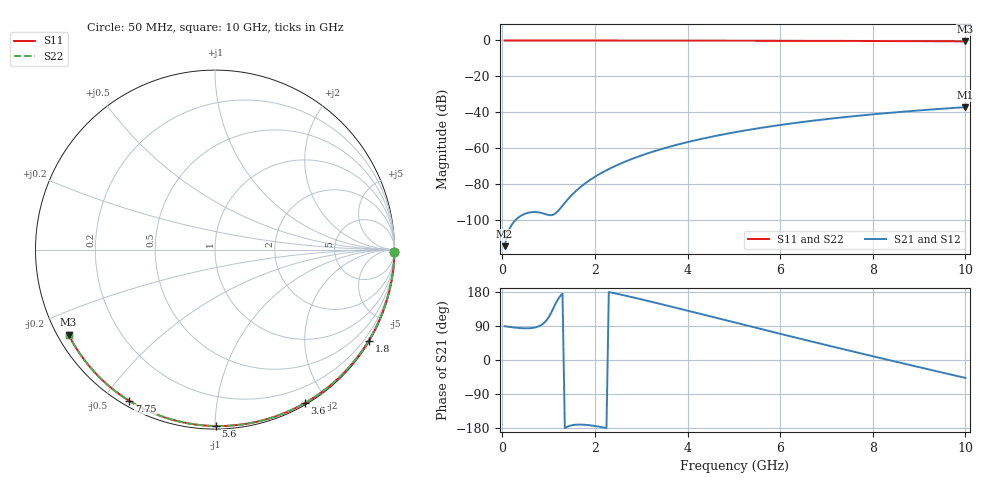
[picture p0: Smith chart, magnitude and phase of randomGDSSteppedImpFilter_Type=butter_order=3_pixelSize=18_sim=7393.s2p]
! freq	dB(S11)	phase(S11)	dB(S12)	phase(S12)
!  dB(S21)	phase(S21)	dB(S22)	phase(S22)
!S-par simulation data
#  GHz  S  DB  R 50
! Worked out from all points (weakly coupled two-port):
!   200 points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, 50 MHz to 10 GHz, reference 50 ohm
!   highest |S21| = -37.17 dB at 10 GHz (marker M1); lowest = -114.6 dB at 50 MHz (marker M2)
!   lowest |S11| = -0.5 dB at 10 GHz (marker M3), VSWR 34.24, Z = 1.57 - j13.5 ohm
!   |S11| at or under -10 dB: nowhere
!   |S22| runs from -0.5 to 0.0 dB; largest |S21 - S12| = 0
!   S11 on the Smith chart (normalised r, x): 50 MHz: open; 1.8 GHz: 0.03, -3.65; 3.6 GHz: 0.02, -1.74; 5.6 GHz: 0.02, -1.00; 7.75 GHz: 0.02, -0.58; 10 GHz: 0.03, -0.27
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0.05  -0.00 -0.9  -114.59 89.1  -114.59 89.1  -0.00 -0.9
0.45  -0.01 -7.8  -96.99 83.8  -96.99 83.8  -0.01 -7.8
0.9  -0.02 -15.5  -96.49 97.6  -96.49 97.6  -0.02 -15.5
1.3  -0.03 -22.3  -92.02 175.3  -92.02 175.3  -0.03 -22.3
1.75  -0.04 -29.8  -80.39 -170.7  -80.39 -170.7  -0.04 -29.8
1.8  -0.04 -30.6  -79.41 -171.2  -79.41 -171.2  -0.04 -30.6
1.95  -0.04 -33.1  -76.75 -173.3  -76.75 -173.3  -0.04 -33.1
2.1  -0.05 -35.6  -74.41 -176.1  -74.41 -176.1  -0.05 -35.6
2.3  -0.05 -38.9  -71.64 179.3  -71.64 179.3  -0.05 -38.9
2.5  -0.05 -42.2  -69.19 174.2  -69.19 174.2  -0.05 -42.2
2.9  -0.06 -48.7  -65.02 163.0  -65.02 163.0  -0.06 -48.7
3.4  -0.08 -56.6  -60.77 148.3  -60.77 148.3  -0.08 -56.6
3.6  -0.08 -59.7  -59.29 142.3  -59.29 142.3  -0.08 -59.7
4.3  -0.10 -70.5  -54.83 121.0  -54.83 121.0  -0.10 -70.5
5.05  -0.13 -81.7  -51.00 98.0  -51.00 98.0  -0.13 -81.7
5.6  -0.15 -89.7  -48.63 81.3  -48.63 81.3  -0.15 -89.7
6.15  -0.17 -97.6  -46.56 64.7  -46.56 64.7  -0.17 -97.6
6.7  -0.21 -105.3  -44.73 48.2  -44.73 48.2  -0.21 -105.3
7.75  -0.28 -119.6  -41.77 17.2  -41.77 17.2  -0.28 -119.6
8.35  -0.33 -127.7  -40.34 -0.2  -40.34 -0.2  -0.33 -127.7
9.2  -0.41 -139.1  -38.58 -24.6  -38.58 -24.6  -0.41 -139.1
10  -0.51 -149.9  -37.17 -47.3  -37.17 -47.3  -0.51 -149.9
